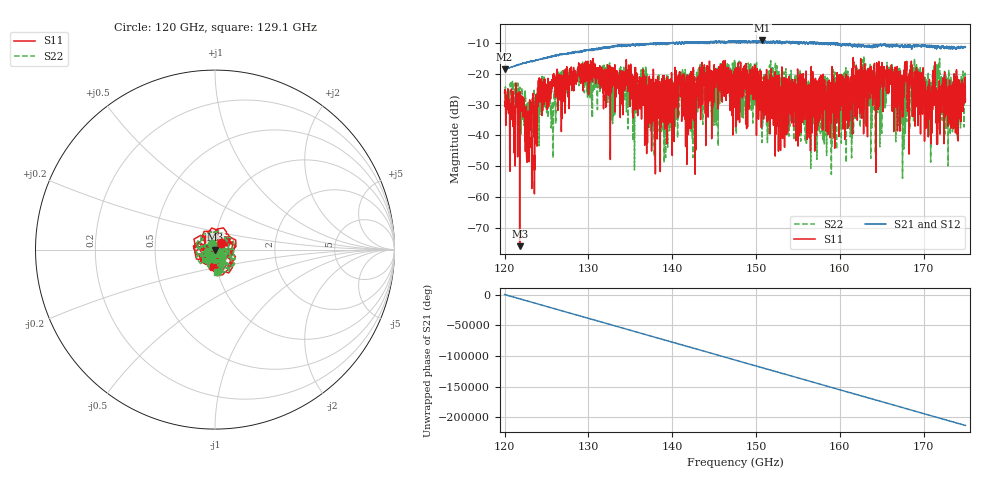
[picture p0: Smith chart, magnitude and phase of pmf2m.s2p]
#  HZ  S  DB  R  50.00
! Rohde & Schwarz ZVA24 4Ports - Version 4.11 - 1145.1110k26 SN: 100599
! Date: 2025-09-01 14:01:58
! Measurements: S11 S21 S12 S22
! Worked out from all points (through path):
!   4500 points, 120 GHz to 175 GHz, reference 50 ohm
!   highest |S21| = -9.16 dB at 150.8 GHz (marker M1); lowest = -18.5 dB at 120 GHz (marker M2)
!   lowest |S11| = -76.0 dB at 121.8 GHz (marker M3), VSWR 1.00, Z = 50 - j0.0112 ohm
!   |S11| at or under -10 dB: start of sweep to end of sweep
!   |S22| runs from -53.9 to -14.2 dB; largest |S21 - S12| = 0.21
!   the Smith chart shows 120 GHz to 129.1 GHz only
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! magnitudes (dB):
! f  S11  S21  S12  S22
! 120 GHz  -26.3  -18.5  -18.5  -28.8
! 121.8 GHz  -76.0  -16.9  -16.9  -25.1
! 122.7 GHz  -46.7  -16.1  -16.1  -29.9
! 124.5 GHz  -30.8  -15.2  -15.1  -22.3
! 125.7 GHz  -23.5  -14.3  -14.2  -29.0
! 126.4 GHz  -23.0  -14.0  -14.0  -21.5
! 129.2 GHz  -16.9  -13.0  -13.0  -17.5
! 138.3 GHz  -28.2  -10.1  -10.1  -24.8
! 147.5 GHz  -19.5  -9.3  -9.4  -27.2
! 150.8 GHz  -26.3  -9.2  -9.2  -28.0
! 156.7 GHz  -30.4  -10.1  -10.1  -35.6
! 161.5 GHz  -27.0  -10.7  -10.8  -39.5
! 162.9 GHz  -24.8  -11.1  -11.1  -17.8
! 165 GHz  -20.8  -10.9  -11.0  -39.3
! 165.8 GHz  -20.9  -11.1  -11.2  -21.4
! 167.6 GHz  -26.7  -11.3  -11.4  -28.9
! 169.1 GHz  -22.0  -10.6  -10.6  -21.3
! 170.7 GHz  -25.0  -11.2  -11.2  -25.5
! 171.2 GHz  -19.6  -11.0  -11.0  -20.5
! 171.7 GHz  -32.6  -11.0  -11.0  -20.0
! 172.8 GHz  -30.6  -11.1  -11.1  -25.0
! 175 GHz  -28.8  -11.2  -11.2  -24.0
